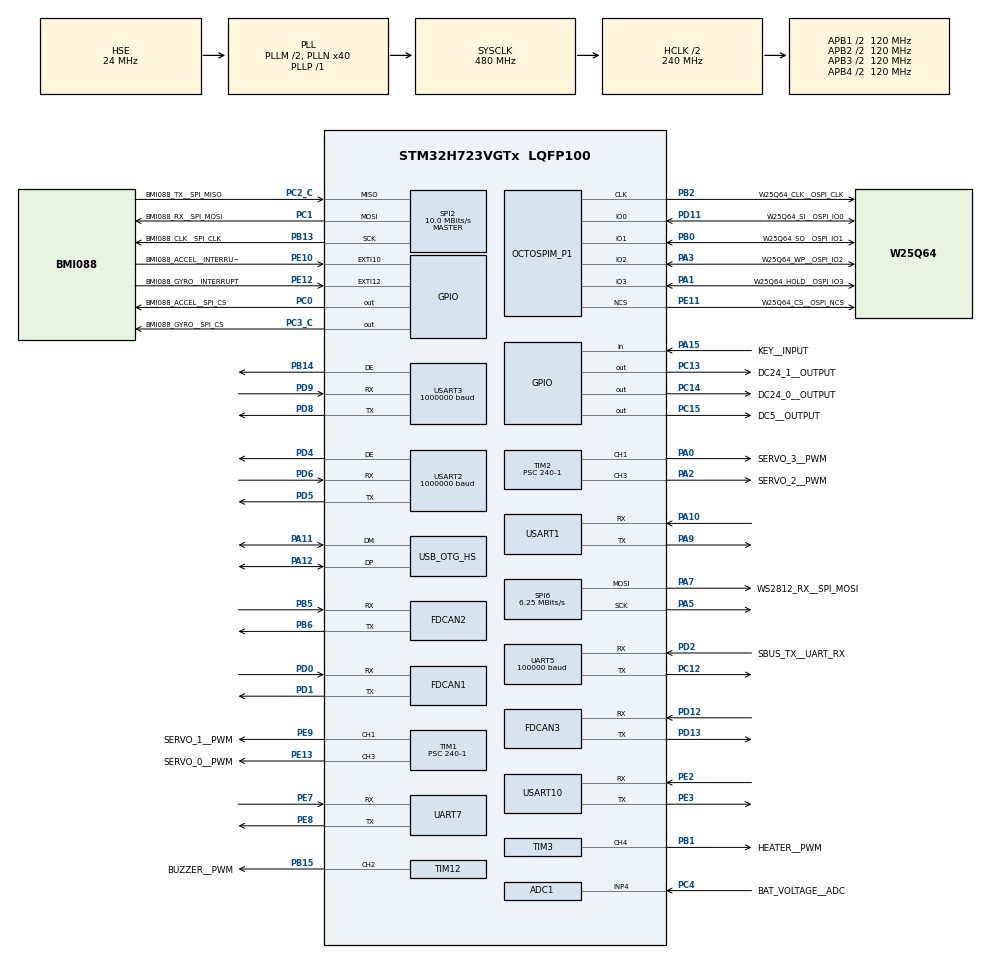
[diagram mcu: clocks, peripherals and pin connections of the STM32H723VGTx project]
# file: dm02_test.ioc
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ADC1.Channel-0\#ChannelRegularConversion=ADC_CHANNEL_4
ADC1.ClockPrescaler=ADC_CLOCK_ASYNC_DIV128
ADC1.ContinuousConvMode=ENABLE
ADC1.ConversionDataManagement=ADC_CONVERSIONDATA_DMA_CIRCULAR
ADC1.NbrOfConversion=1
ADC1.NbrOfConversionFlag=1
ADC1.OffsetNumber-0\#ChannelRegularConversion=ADC_OFFSET_NONE
ADC1.OffsetSignedSaturation-0\#ChannelRegularConversion=DISABLE
ADC1.Rank-0\#ChannelRegularConversion=1
ADC1.SamplingTime-0\#ChannelRegularConversion=ADC_SAMPLETIME_32CYCLES_5
ADC1.master=1
CORTEX_M7.BaseAddress_Spec=0x24000000
CORTEX_M7.CPU_DCache=Disabled
CORTEX_M7.CPU_ICache=Enabled
CORTEX_M7.DisableExec_Spec=MPU_INSTRUCTION_ACCESS_ENABLE
CORTEX_M7.IsBufferable_Spec=MPU_ACCESS_BUFFERABLE
CORTEX_M7.IsCacheable_Spec=MPU_ACCESS_CACHEABLE
CORTEX_M7.IsShareable_Spec=MPU_ACCESS_NOT_SHAREABLE
CORTEX_M7.MPU_Control=__NULL
CORTEX_M7.Size_Spec=MPU_REGION_SIZE_512KB
CORTEX_M7.SubRegionDisable_Spec=0x0
CORTEX_M7.TypeExtField_Spec=MPU_TEX_LEVEL1
CORTEX_M7.default_mode_Activation=1
Dma.ADC1.13.Direction=DMA_PERIPH_TO_MEMORY
Dma.ADC1.13.EventEnable=DISABLE
Dma.ADC1.13.FIFOMode=DMA_FIFOMODE_DISABLE
Dma.ADC1.13.Instance=DMA2_Stream5
Dma.ADC1.13.MemDataAlignment=DMA_MDATAALIGN_HALFWORD
Dma.ADC1.13.MemInc=DMA_MINC_ENABLE
Dma.ADC1.13.Mode=DMA_CIRCULAR
Dma.ADC1.13.PeriphDataAlignment=DMA_PDATAALIGN_HALFWORD
Dma.ADC1.13.PeriphInc=DMA_PINC_DISABLE
Dma.ADC1.13.Polarity=HAL_DMAMUX_REQ_GEN_RISING
Dma.ADC1.13.Priority=DMA_PRIORITY_LOW
Dma.ADC1.13.RequestNumber=1
Dma.ADC1.13.SignalID=NONE
Dma.ADC1.13.SyncEnable=DISABLE
Dma.ADC1.13.SyncPolarity=HAL_DMAMUX_SYNC_NO_EVENT
Dma.ADC1.13.SyncRequestNumber=1
Dma.ADC1.13.SyncSignalID=NONE
Dma.Request0=USART2_RX
Dma.Request1=USART2_TX
Dma.Request10=USART10_TX
Dma.Request11=SPI2_RX
Dma.Request12=SPI2_TX
Dma.Request13=ADC1
Dma.Request2=USART3_RX
Dma.Request3=USART3_TX
Dma.Request4=UART5_RX
Dma.Request5=USART1_RX
Dma.Request6=USART1_TX
Dma.Request7=UART7_RX
Dma.Request8=UART7_TX
Dma.Request9=USART10_RX
Dma.SPI2_RX.11.Direction=DMA_PERIPH_TO_MEMORY
Dma.SPI2_RX.11.EventEnable=DISABLE
Dma.SPI2_RX.11.FIFOMode=DMA_FIFOMODE_ENABLE
Dma.SPI2_RX.11.FIFOThreshold=DMA_FIFO_THRESHOLD_FULL
Dma.SPI2_RX.11.Instance=DMA2_Stream3
Dma.SPI2_RX.11.MemBurst=DMA_MBURST_SINGLE
Dma.SPI2_RX.11.MemDataAlignment=DMA_MDATAALIGN_BYTE
Dma.SPI2_RX.11.MemInc=DMA_MINC_ENABLE
Dma.SPI2_RX.11.Mode=DMA_NORMAL
Dma.SPI2_RX.11.PeriphBurst=DMA_PBURST_SINGLE
Dma.SPI2_RX.11.PeriphDataAlignment=DMA_PDATAALIGN_BYTE
Dma.SPI2_RX.11.PeriphInc=DMA_PINC_DISABLE
Dma.SPI2_RX.11.Polarity=HAL_DMAMUX_REQ_GEN_RISING
Dma.SPI2_RX.11.Priority=DMA_PRIORITY_LOW
Dma.SPI2_RX.11.RequestNumber=1
Dma.SPI2_RX.11.SignalID=NONE
Dma.SPI2_RX.11.SyncEnable=DISABLE
Dma.SPI2_RX.11.SyncPolarity=HAL_DMAMUX_SYNC_NO_EVENT
Dma.SPI2_RX.11.SyncRequestNumber=1
Dma.SPI2_RX.11.SyncSignalID=NONE
Dma.SPI2_TX.12.Direction=DMA_MEMORY_TO_PERIPH
Dma.SPI2_TX.12.EventEnable=DISABLE
Dma.SPI2_TX.12.FIFOMode=DMA_FIFOMODE_DISABLE
Dma.SPI2_TX.12.Instance=DMA2_Stream4
Dma.SPI2_TX.12.MemDataAlignment=DMA_MDATAALIGN_BYTE
Dma.SPI2_TX.12.MemInc=DMA_MINC_ENABLE
Dma.SPI2_TX.12.Mode=DMA_NORMAL
Dma.SPI2_TX.12.PeriphDataAlignment=DMA_PDATAALIGN_BYTE
Dma.SPI2_TX.12.PeriphInc=DMA_PINC_DISABLE
Dma.SPI2_TX.12.Polarity=HAL_DMAMUX_REQ_GEN_RISING
Dma.SPI2_TX.12.Priority=DMA_PRIORITY_LOW
Dma.SPI2_TX.12.RequestNumber=1
Dma.SPI2_TX.12.SignalID=NONE
Dma.SPI2_TX.12.SyncEnable=DISABLE
Dma.SPI2_TX.12.SyncPolarity=HAL_DMAMUX_SYNC_NO_EVENT
Dma.SPI2_TX.12.SyncRequestNumber=1
Dma.SPI2_TX.12.SyncSignalID=NONE
Dma.UART5_RX.4.Direction=DMA_PERIPH_TO_MEMORY
Dma.UART5_RX.4.EventEnable=DISABLE
Dma.UART5_RX.4.FIFOMode=DMA_FIFOMODE_ENABLE
Dma.UART5_RX.4.FIFOThreshold=DMA_FIFO_THRESHOLD_FULL
Dma.UART5_RX.4.Instance=DMA1_Stream4
Dma.UART5_RX.4.MemBurst=DMA_MBURST_SINGLE
Dma.UART5_RX.4.MemDataAlignment=DMA_MDATAALIGN_BYTE
Dma.UART5_RX.4.MemInc=DMA_MINC_ENABLE
Dma.UART5_RX.4.Mode=DMA_NORMAL
Dma.UART5_RX.4.PeriphBurst=DMA_PBURST_SINGLE
Dma.UART5_RX.4.PeriphDataAlignment=DMA_PDATAALIGN_BYTE
Dma.UART5_RX.4.PeriphInc=DMA_PINC_DISABLE
Dma.UART5_RX.4.Polarity=HAL_DMAMUX_REQ_GEN_RISING
Dma.UART5_RX.4.Priority=DMA_PRIORITY_LOW
Dma.UART5_RX.4.RequestNumber=1
Dma.UART5_RX.4.SignalID=NONE
Dma.UART5_RX.4.SyncEnable=DISABLE
Dma.UART5_RX.4.SyncPolarity=HAL_DMAMUX_SYNC_NO_EVENT
Dma.UART5_RX.4.SyncRequestNumber=1
Dma.UART5_RX.4.SyncSignalID=NONE
Dma.UART7_RX.7.Direction=DMA_PERIPH_TO_MEMORY
Dma.UART7_RX.7.EventEnable=DISABLE
Dma.UART7_RX.7.FIFOMode=DMA_FIFOMODE_ENABLE
Dma.UART7_RX.7.FIFOThreshold=DMA_FIFO_THRESHOLD_FULL
Dma.UART7_RX.7.Instance=DMA1_Stream7
Dma.UART7_RX.7.MemBurst=DMA_MBURST_SINGLE
Dma.UART7_RX.7.MemDataAlignment=DMA_MDATAALIGN_BYTE
Dma.UART7_RX.7.MemInc=DMA_MINC_ENABLE
Dma.UART7_RX.7.Mode=DMA_NORMAL
Dma.UART7_RX.7.PeriphBurst=DMA_PBURST_SINGLE
Dma.UART7_RX.7.PeriphDataAlignment=DMA_PDATAALIGN_BYTE
Dma.UART7_RX.7.PeriphInc=DMA_PINC_DISABLE
Dma.UART7_RX.7.Polarity=HAL_DMAMUX_REQ_GEN_RISING
Dma.UART7_RX.7.Priority=DMA_PRIORITY_LOW
Dma.UART7_RX.7.RequestNumber=1
Dma.UART7_RX.7.SignalID=NONE
Dma.UART7_RX.7.SyncEnable=DISABLE
Dma.UART7_RX.7.SyncPolarity=HAL_DMAMUX_SYNC_NO_EVENT
Dma.UART7_RX.7.SyncRequestNumber=1
Dma.UART7_RX.7.SyncSignalID=NONE
Dma.UART7_TX.8.Direction=DMA_MEMORY_TO_PERIPH
Dma.UART7_TX.8.EventEnable=DISABLE
Dma.UART7_TX.8.FIFOMode=DMA_FIFOMODE_ENABLE
Dma.UART7_TX.8.FIFOThreshold=DMA_FIFO_THRESHOLD_FULL
Dma.UART7_TX.8.Instance=DMA2_Stream0
Dma.UART7_TX.8.MemBurst=DMA_MBURST_SINGLE
Dma.UART7_TX.8.MemDataAlignment=DMA_MDATAALIGN_BYTE
Dma.UART7_TX.8.MemInc=DMA_MINC_ENABLE
Dma.UART7_TX.8.Mode=DMA_NORMAL
Dma.UART7_TX.8.PeriphBurst=DMA_PBURST_SINGLE
Dma.UART7_TX.8.PeriphDataAlignment=DMA_PDATAALIGN_BYTE
Dma.UART7_TX.8.PeriphInc=DMA_PINC_DISABLE
Dma.UART7_TX.8.Polarity=HAL_DMAMUX_REQ_GEN_RISING
Dma.UART7_TX.8.Priority=DMA_PRIORITY_LOW
Dma.UART7_TX.8.RequestNumber=1
Dma.UART7_TX.8.SignalID=NONE
Dma.UART7_TX.8.SyncEnable=DISABLE
Dma.UART7_TX.8.SyncPolarity=HAL_DMAMUX_SYNC_NO_EVENT
Dma.UART7_TX.8.SyncRequestNumber=1
Dma.UART7_TX.8.SyncSignalID=NONE
Dma.USART10_RX.9.Direction=DMA_PERIPH_TO_MEMORY
Dma.USART10_RX.9.EventEnable=DISABLE
Dma.USART10_RX.9.FIFOMode=DMA_FIFOMODE_DISABLE
Dma.USART10_RX.9.Instance=DMA2_Stream1
Dma.USART10_RX.9.MemDataAlignment=DMA_MDATAALIGN_BYTE
Dma.USART10_RX.9.MemInc=DMA_MINC_ENABLE
Dma.USART10_RX.9.Mode=DMA_NORMAL
Dma.USART10_RX.9.PeriphDataAlignment=DMA_PDATAALIGN_BYTE
Dma.USART10_RX.9.PeriphInc=DMA_PINC_DISABLE
Dma.USART10_RX.9.Polarity=HAL_DMAMUX_REQ_GEN_RISING
Dma.USART10_RX.9.Priority=DMA_PRIORITY_LOW
Dma.USART10_RX.9.RequestNumber=1
Dma.USART10_RX.9.SignalID=NONE
Dma.USART10_RX.9.SyncEnable=DISABLE
Dma.USART10_RX.9.SyncPolarity=HAL_DMAMUX_SYNC_NO_EVENT
Dma.USART10_RX.9.SyncRequestNumber=1
Dma.USART10_RX.9.SyncSignalID=NONE
Dma.USART10_TX.10.Direction=DMA_MEMORY_TO_PERIPH
Dma.USART10_TX.10.EventEnable=DISABLE
Dma.USART10_TX.10.FIFOMode=DMA_FIFOMODE_DISABLE
Dma.USART10_TX.10.Instance=DMA2_Stream2
Dma.USART10_TX.10.MemDataAlignment=DMA_MDATAALIGN_BYTE
Dma.USART10_TX.10.MemInc=DMA_MINC_ENABLE
Dma.USART10_TX.10.Mode=DMA_NORMAL
Dma.USART10_TX.10.PeriphDataAlignment=DMA_PDATAALIGN_BYTE
Dma.USART10_TX.10.PeriphInc=DMA_PINC_DISABLE
Dma.USART10_TX.10.Polarity=HAL_DMAMUX_REQ_GEN_RISING
Dma.USART10_TX.10.Priority=DMA_PRIORITY_LOW
Dma.USART10_TX.10.RequestNumber=1
Dma.USART10_TX.10.SignalID=NONE
Dma.USART10_TX.10.SyncEnable=DISABLE
Dma.USART10_TX.10.SyncPolarity=HAL_DMAMUX_SYNC_NO_EVENT
Dma.USART10_TX.10.SyncRequestNumber=1
Dma.USART10_TX.10.SyncSignalID=NONE
Dma.USART1_RX.5.Direction=DMA_PERIPH_TO_MEMORY
Dma.USART1_RX.5.EventEnable=DISABLE
Dma.USART1_RX.5.FIFOMode=DMA_FIFOMODE_ENABLE
Dma.USART1_RX.5.FIFOThreshold=DMA_FIFO_THRESHOLD_FULL
Dma.USART1_RX.5.Instance=DMA1_Stream5
Dma.USART1_RX.5.MemBurst=DMA_MBURST_SINGLE
Dma.USART1_RX.5.MemDataAlignment=DMA_MDATAALIGN_BYTE
Dma.USART1_RX.5.MemInc=DMA_MINC_ENABLE
Dma.USART1_RX.5.Mode=DMA_NORMAL
Dma.USART1_RX.5.PeriphBurst=DMA_PBURST_SINGLE
Dma.USART1_RX.5.PeriphDataAlignment=DMA_PDATAALIGN_BYTE
Dma.USART1_RX.5.PeriphInc=DMA_PINC_DISABLE
Dma.USART1_RX.5.Polarity=HAL_DMAMUX_REQ_GEN_RISING
Dma.USART1_RX.5.Priority=DMA_PRIORITY_LOW
Dma.USART1_RX.5.RequestNumber=1
Dma.USART1_RX.5.SignalID=NONE
Dma.USART1_RX.5.SyncEnable=DISABLE
Dma.USART1_RX.5.SyncPolarity=HAL_DMAMUX_SYNC_NO_EVENT
Dma.USART1_RX.5.SyncRequestNumber=1
Dma.USART1_RX.5.SyncSignalID=NONE
Dma.USART1_TX.6.Direction=DMA_MEMORY_TO_PERIPH
Dma.USART1_TX.6.EventEnable=DISABLE
Dma.USART1_TX.6.FIFOMode=DMA_FIFOMODE_ENABLE
Dma.USART1_TX.6.FIFOThreshold=DMA_FIFO_THRESHOLD_FULL
Dma.USART1_TX.6.Instance=DMA1_Stream6
Dma.USART1_TX.6.MemBurst=DMA_MBURST_SINGLE
Dma.USART1_TX.6.MemDataAlignment=DMA_MDATAALIGN_BYTE
Dma.USART1_TX.6.MemInc=DMA_MINC_ENABLE
Dma.USART1_TX.6.Mode=DMA_NORMAL
Dma.USART1_TX.6.PeriphBurst=DMA_PBURST_SINGLE
Dma.USART1_TX.6.PeriphDataAlignment=DMA_PDATAALIGN_BYTE
Dma.USART1_TX.6.PeriphInc=DMA_PINC_DISABLE
Dma.USART1_TX.6.Polarity=HAL_DMAMUX_REQ_GEN_RISING
Dma.USART1_TX.6.Priority=DMA_PRIORITY_LOW
Dma.USART1_TX.6.RequestNumber=1
Dma.USART1_TX.6.SignalID=NONE
Dma.USART1_TX.6.SyncEnable=DISABLE
Dma.USART1_TX.6.SyncPolarity=HAL_DMAMUX_SYNC_NO_EVENT
Dma.USART1_TX.6.SyncRequestNumber=1
Dma.USART1_TX.6.SyncSignalID=NONE
Dma.USART2_RX.0.Direction=DMA_PERIPH_TO_MEMORY
Dma.USART2_RX.0.EventEnable=DISABLE
Dma.USART2_RX.0.FIFOMode=DMA_FIFOMODE_ENABLE
Dma.USART2_RX.0.FIFOThreshold=DMA_FIFO_THRESHOLD_FULL
Dma.USART2_RX.0.Instance=DMA1_Stream1
Dma.USART2_RX.0.MemBurst=DMA_MBURST_SINGLE
Dma.USART2_RX.0.MemDataAlignment=DMA_MDATAALIGN_BYTE
Dma.USART2_RX.0.MemInc=DMA_MINC_ENABLE
Dma.USART2_RX.0.Mode=DMA_NORMAL
Dma.USART2_RX.0.PeriphBurst=DMA_PBURST_SINGLE
Dma.USART2_RX.0.PeriphDataAlignment=DMA_PDATAALIGN_BYTE
Dma.USART2_RX.0.PeriphInc=DMA_PINC_DISABLE
Dma.USART2_RX.0.Polarity=HAL_DMAMUX_REQ_GEN_RISING
Dma.USART2_RX.0.Priority=DMA_PRIORITY_LOW
Dma.USART2_RX.0.RequestNumber=1
Dma.USART2_RX.0.SignalID=NONE
Dma.USART2_RX.0.SyncEnable=DISABLE
Dma.USART2_RX.0.SyncPolarity=HAL_DMAMUX_SYNC_NO_EVENT
Dma.USART2_RX.0.SyncRequestNumber=1
Dma.USART2_RX.0.SyncSignalID=NONE
Dma.USART2_TX.1.Direction=DMA_MEMORY_TO_PERIPH
Dma.USART2_TX.1.EventEnable=DISABLE
Dma.USART2_TX.1.FIFOMode=DMA_FIFOMODE_ENABLE
Dma.USART2_TX.1.FIFOThreshold=DMA_FIFO_THRESHOLD_FULL
Dma.USART2_TX.1.Instance=DMA1_Stream0
Dma.USART2_TX.1.MemBurst=DMA_MBURST_SINGLE
Dma.USART2_TX.1.MemDataAlignment=DMA_MDATAALIGN_BYTE
Dma.USART2_TX.1.MemInc=DMA_MINC_ENABLE
Dma.USART2_TX.1.Mode=DMA_NORMAL
Dma.USART2_TX.1.PeriphBurst=DMA_PBURST_SINGLE
Dma.USART2_TX.1.PeriphDataAlignment=DMA_PDATAALIGN_BYTE
Dma.USART2_TX.1.PeriphInc=DMA_PINC_DISABLE
Dma.USART2_TX.1.Polarity=HAL_DMAMUX_REQ_GEN_RISING
Dma.USART2_TX.1.Priority=DMA_PRIORITY_LOW
Dma.USART2_TX.1.RequestNumber=1
Dma.USART2_TX.1.SignalID=NONE
Dma.USART2_TX.1.SyncEnable=DISABLE
Dma.USART2_TX.1.SyncPolarity=HAL_DMAMUX_SYNC_NO_EVENT
Dma.USART2_TX.1.SyncRequestNumber=1
Dma.USART2_TX.1.SyncSignalID=NONE
Dma.USART3_RX.2.Direction=DMA_PERIPH_TO_MEMORY
Dma.USART3_RX.2.EventEnable=DISABLE
Dma.USART3_RX.2.FIFOMode=DMA_FIFOMODE_ENABLE
Dma.USART3_RX.2.FIFOThreshold=DMA_FIFO_THRESHOLD_FULL
Dma.USART3_RX.2.Instance=DMA1_Stream2
Dma.USART3_RX.2.MemBurst=DMA_MBURST_SINGLE
Dma.USART3_RX.2.MemDataAlignment=DMA_MDATAALIGN_BYTE
Dma.USART3_RX.2.MemInc=DMA_MINC_ENABLE
Dma.USART3_RX.2.Mode=DMA_NORMAL
Dma.USART3_RX.2.PeriphBurst=DMA_PBURST_SINGLE
Dma.USART3_RX.2.PeriphDataAlignment=DMA_PDATAALIGN_BYTE
Dma.USART3_RX.2.PeriphInc=DMA_PINC_DISABLE
Dma.USART3_RX.2.Polarity=HAL_DMAMUX_REQ_GEN_RISING
Dma.USART3_RX.2.Priority=DMA_PRIORITY_LOW
Dma.USART3_RX.2.RequestNumber=1
Dma.USART3_RX.2.SignalID=NONE
Dma.USART3_RX.2.SyncEnable=DISABLE
Dma.USART3_RX.2.SyncPolarity=HAL_DMAMUX_SYNC_NO_EVENT
Dma.USART3_RX.2.SyncRequestNumber=1
Dma.USART3_RX.2.SyncSignalID=NONE
Dma.USART3_TX.3.Direction=DMA_MEMORY_TO_PERIPH
Dma.USART3_TX.3.EventEnable=DISABLE
Dma.USART3_TX.3.FIFOMode=DMA_FIFOMODE_ENABLE
Dma.USART3_TX.3.FIFOThreshold=DMA_FIFO_THRESHOLD_FULL
Dma.USART3_TX.3.Instance=DMA1_Stream3
Dma.USART3_TX.3.MemBurst=DMA_MBURST_SINGLE
Dma.USART3_TX.3.MemDataAlignment=DMA_MDATAALIGN_BYTE
Dma.USART3_TX.3.MemInc=DMA_MINC_ENABLE
Dma.USART3_TX.3.Mode=DMA_NORMAL
Dma.USART3_TX.3.PeriphBurst=DMA_PBURST_SINGLE
Dma.USART3_TX.3.PeriphDataAlignment=DMA_PDATAALIGN_BYTE
Dma.USART3_TX.3.PeriphInc=DMA_PINC_DISABLE
Dma.USART3_TX.3.Polarity=HAL_DMAMUX_REQ_GEN_RISING
Dma.USART3_TX.3.Priority=DMA_PRIORITY_LOW
Dma.USART3_TX.3.RequestNumber=1
Dma.USART3_TX.3.SignalID=NONE
Dma.USART3_TX.3.SyncEnable=DISABLE
Dma.USART3_TX.3.SyncPolarity=HAL_DMAMUX_SYNC_NO_EVENT
Dma.USART3_TX.3.SyncRequestNumber=1
Dma.USART3_TX.3.SyncSignalID=NONE
FDCAN1.AutoRetransmission=ENABLE
FDCAN1.CalculateBaudRateNominal=1000000
FDCAN1.CalculateTimeBitNominal=1000
FDCAN1.CalculateTimeQuantumNominal=25.0
FDCAN1.DataPrescaler=3
FDCAN1.DataSyncJumpWidth=10
FDCAN1.DataTimeSeg1=29
FDCAN1.DataTimeSeg2=10
FDCAN1.NominalPrescaler=3
FDCAN1.NominalSyncJumpWidth=10
FDCAN1.NominalTimeSeg1=29
FDCAN1.NominalTimeSeg2=10
FDCAN1.ProtocolException=DISABLE
FDCAN1.RxFifo0ElmtsNbr=16
FDCAN1.RxFifo1ElmtsNbr=0
FDCAN1.StdFiltersNbr=1
FDCAN1.TxFifoQueueElmtsNbr=8
FDCAN2.AutoRetransmission=ENABLE
FDCAN2.CalculateBaudRateNominal=1000000
FDCAN2.CalculateTimeBitNominal=1000
FDCAN2.CalculateTimeQuantumNominal=25.0
FDCAN2.DataPrescaler=3
FDCAN2.DataSyncJumpWidth=10
FDCAN2.DataTimeSeg1=29
FDCAN2.DataTimeSeg2=10
FDCAN2.MessageRAMOffset=853
FDCAN2.NominalPrescaler=3
FDCAN2.NominalSyncJumpWidth=10
FDCAN2.NominalTimeSeg1=29
FDCAN2.NominalTimeSeg2=10
FDCAN2.RxFifo0ElmtsNbr=16
FDCAN2.RxFifo1ElmtsNbr=0
FDCAN2.StdFiltersNbr=1
FDCAN2.TxFifoQueueElmtsNbr=8
FDCAN3.AutoRetransmission=ENABLE
FDCAN3.CalculateBaudRateNominal=1000000
FDCAN3.CalculateTimeBitNominal=1000
FDCAN3.CalculateTimeQuantumNominal=25.0
FDCAN3.DataPrescaler=3
FDCAN3.DataSyncJumpWidth=10
FDCAN3.DataTimeSeg1=29
FDCAN3.DataTimeSeg2=10
FDCAN3.MessageRAMOffset=1706
FDCAN3.NominalPrescaler=3
FDCAN3.NominalSyncJumpWidth=10
FDCAN3.NominalTimeSeg1=29
FDCAN3.NominalTimeSeg2=10
FDCAN3.RxFifo0ElmtsNbr=16
FDCAN3.RxFifo1ElmtsNbr=0
FDCAN3.StdFiltersNbr=1
FDCAN3.TxFifoQueueElmtsNbr=8
FREERTOS.Tasks01=statusTask,24,512,StartStatusTask,Default,NULL,Dynamic,NULL,NULL;controlTask,40,512,StartControlTask,Default,NULL,Dynamic,NULL,NULL
FREERTOS.configCHECK_FOR_STACK_OVERFLOW=2
FREERTOS.configTICK_RATE_HZ=1000
FREERTOS.configTOTAL_HEAP_SIZE=12288
IWDG1.Prescaler=IWDG_PRESCALER_256
IWDG1.Reload=1023
IWDG1.Window=1023
Mcu.Family=STM32H7
Mcu.Name=STM32H723VGTx
Mcu.Package=LQFP100
Mdma.MDMA_Channel0.OCTOSPI2_FIFO_TH.0.BlockCount=0
Mdma.MDMA_Channel0.OCTOSPI2_FIFO_TH.0.BlockDataLength=0
Mdma.MDMA_Channel0.OCTOSPI2_FIFO_TH.0.BufferTransferLength=1
Mdma.MDMA_Channel0.OCTOSPI2_FIFO_TH.0.CircularMode=MDMA_LINEAR_LIST
Mdma.MDMA_Channel0.OCTOSPI2_FIFO_TH.0.DataAlignment=MDMA_DATAALIGN_PACKENABLE
Mdma.MDMA_Channel0.OCTOSPI2_FIFO_TH.0.DestBlockAddressOffset=0
Mdma.MDMA_Channel0.OCTOSPI2_FIFO_TH.0.DestBurst=MDMA_DEST_BURST_SINGLE
Mdma.MDMA_Channel0.OCTOSPI2_FIFO_TH.0.DestDataSize=MDMA_DEST_DATASIZE_BYTE
Mdma.MDMA_Channel0.OCTOSPI2_FIFO_TH.0.DestinationInc=MDMA_DEST_INC_BYTE
Mdma.MDMA_Channel0.OCTOSPI2_FIFO_TH.0.DstAddress=0
Mdma.MDMA_Channel0.OCTOSPI2_FIFO_TH.0.Endianness=MDMA_LITTLE_ENDIANNESS_PRESERVE
Mdma.MDMA_Channel0.OCTOSPI2_FIFO_TH.0.Instance=MDMA_Channel0
Mdma.MDMA_Channel0.OCTOSPI2_FIFO_TH.0.MaskAddress=0
Mdma.MDMA_Channel0.OCTOSPI2_FIFO_TH.0.MaskData=0
Mdma.MDMA_Channel0.OCTOSPI2_FIFO_TH.0.Priority=MDMA_PRIORITY_LOW
Mdma.MDMA_Channel0.OCTOSPI2_FIFO_TH.0.Rank=First
Mdma.MDMA_Channel0.OCTOSPI2_FIFO_TH.0.SourceBlockAddressOffset=0
Mdma.MDMA_Channel0.OCTOSPI2_FIFO_TH.0.SourceBurst=MDMA_SOURCE_BURST_SINGLE
Mdma.MDMA_Channel0.OCTOSPI2_FIFO_TH.0.SourceDataSize=MDMA_SRC_DATASIZE_BYTE
Mdma.MDMA_Channel0.OCTOSPI2_FIFO_TH.0.SourceInc=MDMA_SRC_INC_BYTE
Mdma.MDMA_Channel0.OCTOSPI2_FIFO_TH.0.SrcAddress=0
Mdma.MDMA_Channel0.OCTOSPI2_FIFO_TH.0.TransferTriggerMode=MDMA_BUFFER_TRANSFER
Mdma.MDMA_Channel0.Request0=OCTOSPI2_FIFO_TH
Mdma.MDMA_Channel0.RequestsNb=1
Mdma.RequestSet0=MDMA_Channel0
Mdma.RequestSetsNb=1
NVIC.DMA1_Stream0_IRQn=true\:5\:0\:false\:false\:true\:false\:true\:true\:true
NVIC.DMA1_Stream1_IRQn=true\:5\:0\:false\:false\:true\:false\:true\:true\:true
NVIC.DMA1_Stream2_IRQn=true\:5\:0\:false\:false\:true\:false\:true\:true\:true
NVIC.DMA1_Stream3_IRQn=true\:5\:0\:false\:false\:true\:false\:true\:true\:true
NVIC.DMA1_Stream4_IRQn=true\:5\:0\:false\:false\:true\:false\:true\:true\:true
NVIC.DMA1_Stream5_IRQn=true\:5\:0\:false\:false\:true\:false\:true\:true\:true
NVIC.DMA1_Stream6_IRQn=true\:5\:0\:false\:false\:true\:false\:true\:true\:true
NVIC.DMA1_Stream7_IRQn=true\:5\:0\:false\:false\:true\:false\:true\:true\:true
NVIC.DMA2_Stream0_IRQn=true\:5\:0\:false\:false\:true\:false\:true\:true\:true
NVIC.DMA2_Stream1_IRQn=true\:5\:0\:false\:false\:true\:false\:true\:true\:true
NVIC.DMA2_Stream2_IRQn=true\:5\:0\:false\:false\:true\:false\:true\:true\:true
NVIC.DMA2_Stream3_IRQn=true\:5\:0\:false\:false\:true\:false\:true\:true\:true
NVIC.DMA2_Stream4_IRQn=true\:5\:0\:false\:false\:true\:false\:true\:true\:true
NVIC.DMA2_Stream5_IRQn=true\:5\:0\:false\:false\:true\:false\:true\:true\:true
NVIC.EXTI15_10_IRQn=true\:5\:0\:true\:false\:true\:true\:true\:true\:true
NVIC.FDCAN1_IT0_IRQn=true\:5\:0\:false\:false\:true\:true\:true\:true\:true
NVIC.FDCAN1_IT1_IRQn=true\:5\:0\:false\:false\:true\:true\:true\:true\:true
NVIC.FDCAN2_IT0_IRQn=true\:5\:0\:false\:false\:true\:true\:true\:true\:true
NVIC.FDCAN2_IT1_IRQn=true\:5\:0\:false\:false\:true\:true\:true\:true\:true
NVIC.FDCAN3_IT0_IRQn=true\:5\:0\:false\:false\:true\:true\:true\:true\:true
NVIC.FDCAN3_IT1_IRQn=true\:5\:0\:false\:false\:true\:true\:true\:true\:true
NVIC.MDMA_IRQn=true\:5\:0\:false\:false\:true\:false\:true\:true\:true
NVIC.OCTOSPI2_IRQn=true\:5\:0\:false\:false\:true\:true\:true\:true\:true
NVIC.OTG_HS_IRQn=true\:5\:0\:false\:false\:true\:false\:true\:true\:true
NVIC.PriorityGroup=NVIC_PRIORITYGROUP_4
NVIC.SPI2_IRQn=true\:5\:0\:false\:false\:true\:false\:true\:true\:true
NVIC.TIM4_IRQn=true\:5\:0\:true\:false\:true\:true\:true\:true\:true
NVIC.TIM5_IRQn=true\:5\:0\:true\:false\:true\:true\:true\:true\:true
NVIC.TIM6_DAC_IRQn=true\:5\:0\:true\:false\:true\:false\:true\:true\:true
NVIC.TIM7_IRQn=true\:5\:0\:true\:false\:true\:true\:true\:true\:true
NVIC.TIM8_UP_TIM13_IRQn=true\:5\:0\:true\:false\:true\:true\:true\:true\:true
NVIC.TimeBase=TIM6_DAC_IRQn
NVIC.TimeBaseIP=TIM6
NVIC.UART5_IRQn=true\:5\:0\:true\:false\:true\:true\:true\:true\:true
NVIC.UART7_IRQn=true\:5\:0\:true\:false\:true\:true\:true\:true\:true
NVIC.USART10_IRQn=true\:5\:0\:true\:false\:true\:true\:true\:true\:true
NVIC.USART1_IRQn=true\:5\:0\:true\:false\:true\:true\:true\:true\:true
NVIC.USART2_IRQn=true\:5\:0\:true\:false\:true\:true\:true\:true\:true
NVIC.USART3_IRQn=true\:5\:0\:true\:false\:true\:true\:true\:true\:true
OCTOSPI2.ClockMode=HAL_OSPI_CLOCK_MODE_3
OCTOSPI2.ClockPrescaler=2
OCTOSPI2.DeviceSize=23
OCTOSPI2.FifoThreshold=1
OCTOSPI2.SampleShifting=HAL_OSPI_SAMPLE_SHIFTING_HALFCYCLE
PA0.GPIO_Label=SERVO_3__PWM
PA0.Signal=S_TIM2_CH1_ETR
PA1.GPIO_Label=W25Q64_HOLD__OSPI_IO3
PA1.Mode=OCTOSPI2_IOL_Port1L
PA1.Signal=OCTOSPIM_P1_IO3
PA10.Mode=Asynchronous
PA10.Signal=USART1_RX
PA11.Mode=Device_Only_FS
PA11.Signal=USB_OTG_HS_DM
PA12.Mode=Device_Only_FS
PA12.Signal=USB_OTG_HS_DP
PA13(JTMS/SWDIO).Mode=Serial_Wire
PA13(JTMS/SWDIO).Signal=DEBUG_JTMS-SWDIO
PA14(JTCK/SWCLK).Mode=Serial_Wire
PA14(JTCK/SWCLK).Signal=DEBUG_JTCK-SWCLK
PA15(JTDI).GPIO_Label=KEY__INPUT
PA15(JTDI).Signal=GPIO_Input
PA2.GPIO_Label=SERVO_2__PWM
PA2.Signal=S_TIM2_CH3
PA3.GPIO_Label=W25Q64_WP__OSPI_IO2
PA3.Mode=OCTOSPI2_IOL_Port1L
PA3.Signal=OCTOSPIM_P1_IO2
PA5.GPIO_Speed=GPIO_SPEED_FREQ_VERY_HIGH
PA5.Mode=TX_Only_Simplex_Unidirect_Master
PA5.Signal=SPI6_SCK
PA7.GPIO_Label=WS2812_RX__SPI_MOSI
PA7.GPIO_Speed=GPIO_SPEED_FREQ_VERY_HIGH
PA7.Mode=TX_Only_Simplex_Unidirect_Master
PA7.Signal=SPI6_MOSI
PA9.Mode=Asynchronous
PA9.Signal=USART1_TX
PB0.GPIO_Label=W25Q64_SO__OSPI_IO1
PB0.Mode=OCTOSPI2_IOL_Port1L
PB0.Signal=OCTOSPIM_P1_IO1
PB1.GPIO_Label=HEATER__PWM
PB1.Signal=S_TIM3_CH4
PB13.GPIO_Label=BMI088_CLK__SPI_CLK
PB13.GPIO_Speed=GPIO_SPEED_FREQ_VERY_HIGH
PB13.Mode=Full_Duplex_Master
PB13.Signal=SPI2_SCK
PB14.Mode=Hardware Flow Control (RS485)
PB14.Signal=USART3_DE
PB15.GPIO_Label=BUZZER__PWM
PB15.Signal=S_TIM12_CH2
PB2.GPIO_Label=W25Q64_CLK__OSPI_CLK
PB2.Mode=O2_P1_CLK
PB2.Signal=OCTOSPIM_P1_CLK
PB5.Mode=FDCAN_Activate
PB5.Signal=FDCAN2_RX
PB6.Mode=FDCAN_Activate
PB6.Signal=FDCAN2_TX
PC0.GPIO_Label=BMI088_ACCEL__SPI_CS
PC0.GPIO_Speed=GPIO_SPEED_FREQ_VERY_HIGH
PC0.PinState=GPIO_PIN_SET
PC0.Signal=GPIO_Output
PC1.GPIO_Label=BMI088_RX__SPI_MOSI
PC1.GPIO_Speed=GPIO_SPEED_FREQ_VERY_HIGH
PC1.Mode=Full_Duplex_Master
PC1.Signal=SPI2_MOSI
PC12.Mode=Asynchronous
PC12.Signal=UART5_TX
PC13.GPIO_Label=DC24_1__OUTPUT
PC13.PinState=GPIO_PIN_RESET
PC13.Signal=GPIO_Output
PC14-OSC32_IN.GPIO_Label=DC24_0__OUTPUT
PC14-OSC32_IN.Signal=GPIO_Output
PC15-OSC32_OUT.GPIO_Label=DC5__OUTPUT
PC15-OSC32_OUT.PinState=GPIO_PIN_RESET
PC15-OSC32_OUT.Signal=GPIO_Output
PC2_C.GPIO_Label=BMI088_TX__SPI_MISO
PC2_C.GPIO_Speed=GPIO_SPEED_FREQ_VERY_HIGH
PC2_C.Mode=Full_Duplex_Master
PC2_C.Signal=SPI2_MISO
PC3_C.GPIO_Label=BMI088_GYRO__SPI_CS
PC3_C.GPIO_Speed=GPIO_SPEED_FREQ_VERY_HIGH
PC3_C.PinState=GPIO_PIN_SET
PC3_C.Signal=GPIO_Output
PC4.GPIO_Label=BAT_VOLTAGE__ADC
PC4.Signal=ADCx_INP4
PD0.Mode=FDCAN_Activate
PD0.Signal=FDCAN1_RX
PD1.Mode=FDCAN_Activate
PD1.Signal=FDCAN1_TX
PD11.GPIO_Label=W25Q64_SI__OSPI_IO0
PD11.Mode=OCTOSPI2_IOL_Port1L
PD11.Signal=OCTOSPIM_P1_IO0
PD12.Mode=FDCAN_Activate
PD12.Signal=FDCAN3_RX
PD13.Mode=FDCAN_Activate
PD13.Signal=FDCAN3_TX
PD2.GPIO_Label=SBUS_TX__UART_RX
PD2.Mode=Asynchronous
PD2.Signal=UART5_RX
PD4.Mode=Hardware Flow Control (RS485)
PD4.Signal=USART2_DE
PD5.Mode=Asynchronous
PD5.Signal=USART2_TX
PD6.Mode=Asynchronous
PD6.Signal=USART2_RX
PD8.Mode=Asynchronous
PD8.Signal=USART3_TX
PD9.Mode=Asynchronous
PD9.Signal=USART3_RX
PE10.GPIO_Label=BMI088_ACCEL__INTERRUPT
PE10.Signal=GPXTI10
PE11.GPIO_Label=W25Q64_CS__OSPI_NCS
PE11.Mode=OCTOSPI2_Port1_NCS
PE11.Signal=OCTOSPIM_P1_NCS
PE12.GPIO_Label=BMI088_GYRO__INTERRUPT
PE12.Signal=GPXTI12
PE13.GPIO_Label=SERVO_0__PWM
PE13.Signal=S_TIM1_CH3
PE2.Mode=Asynchronous
PE2.Signal=USART10_RX
PE3.Mode=Asynchronous
PE3.Signal=USART10_TX
PE7.Mode=Asynchronous
PE7.Signal=UART7_RX
PE8.Mode=Asynchronous
PE8.Signal=UART7_TX
PE9.GPIO_Label=SERVO_1__PWM
PE9.Signal=S_TIM1_CH1
PH0-OSC_IN.Mode=HSE-External-Oscillator
PH0-OSC_IN.Signal=RCC_OSC_IN
PH1-OSC_OUT.Mode=HSE-External-Oscillator
PH1-OSC_OUT.Signal=RCC_OSC_OUT
ProjectManager.HeapSize=0x20000
ProjectManager.StackSize=0x10000
ProjectManager.TargetToolchain=CMake
RCC.ADCCLockSelection=RCC_ADCCLKSOURCE_CLKP
RCC.ADCFreq_Value=24000000
RCC.APB1Freq_Value=120000000
RCC.APB2Freq_Value=120000000
RCC.APB3Freq_Value=120000000
RCC.APB4Freq_Value=120000000
RCC.CKPERSourceSelection=RCC_CLKPSOURCE_HSE
RCC.CortexFreq_Value=480000000
RCC.D1PPRE=RCC_APB3_DIV2
RCC.D2PPRE1=RCC_APB1_DIV2
RCC.D2PPRE2=RCC_APB2_DIV2
RCC.D3PPRE=RCC_APB4_DIV2
RCC.DIVM1=2
RCC.DIVM2=12
RCC.DIVM3=24
RCC.DIVN1=40
RCC.DIVN2=100
RCC.DIVN3=160
RCC.DIVP1=1
RCC.DIVQ1=4
RCC.DIVQ2=4
RCC.HCLKFreq_Value=240000000
RCC.HPRE=RCC_HCLK_DIV2
RCC.HSE_VALUE=24000000
RCC.PLL2FRACN=0
RCC.PLLFRACN=0
RCC.PLLSourceVirtual=RCC_PLLSOURCE_HSE
RCC.SPI123CLockSelection=RCC_SPI123CLKSOURCE_PLL3
RCC.SPI6CLockSelection=RCC_SPI6CLKSOURCE_PLL2
RCC.SYSCLKFreq_VALUE=480000000
RCC.SYSCLKSource=RCC_SYSCLKSOURCE_PLLCLK
RCC.USBCLockSelection=RCC_USBCLKSOURCE_HSI48
RCC.USBFreq_Value=48000000
SH.ADCx_INP4.0=ADC1_INP4,IN4-Single-Ended
SH.S_TIM12_CH2.0=TIM12_CH2,PWM Generation2 CH2
SH.S_TIM1_CH1.0=TIM1_CH1,PWM Generation1 CH1
SH.S_TIM1_CH3.0=TIM1_CH3,PWM Generation3 CH3
SH.S_TIM2_CH1_ETR.0=TIM2_CH1,PWM Generation1 CH1
SH.S_TIM2_CH3.0=TIM2_CH3,PWM Generation3 CH3
SH.S_TIM3_CH4.0=TIM3_CH4,PWM Generation4 CH4
SPI2.BaudRatePrescaler=SPI_BAUDRATEPRESCALER_8
SPI2.CLKPhase=SPI_PHASE_2EDGE
SPI2.CLKPolarity=SPI_POLARITY_HIGH
SPI2.CalculateBaudRate=10.0 MBits/s
SPI2.DataSize=SPI_DATASIZE_8BIT
SPI2.Direction=SPI_DIRECTION_2LINES
SPI2.Mode=SPI_MODE_MASTER
SPI2.VirtualType=VM_MASTER
SPI6.BaudRatePrescaler=SPI_BAUDRATEPRESCALER_8
SPI6.CLKPolarity=SPI_POLARITY_LOW
SPI6.CalculateBaudRate=6.25 MBits/s
SPI6.DataSize=SPI_DATASIZE_8BIT
SPI6.Direction=SPI_DIRECTION_2LINES_TXONLY
SPI6.FirstBit=SPI_FIRSTBIT_MSB
SPI6.Mode=SPI_MODE_MASTER
SPI6.VirtualType=VM_MASTER
STMicroelectronics.X-CUBE-ALGOBUILD.1.4.0.LibraryCcDSPOoLibraryJjDSPOoLibrary=true
TIM1.AutoReloadPreload=TIM_AUTORELOAD_PRELOAD_ENABLE
TIM1.Channel-PWM\ Generation1\ CH1=TIM_CHANNEL_1
TIM1.Channel-PWM\ Generation3\ CH3=TIM_CHANNEL_3
TIM1.OC1Preload_PWM=DISABLE
TIM1.OC3Preload_PWM=DISABLE
TIM1.Period=10000-1
TIM1.Prescaler=240-1
TIM12.Channel-PWM\ Generation2\ CH2=TIM_CHANNEL_2
TIM12.OC2Preload_PWM=DISABLE
TIM12.Period=250-1
TIM12.Prescaler=240-1
TIM2.AutoReloadPreload=TIM_AUTORELOAD_PRELOAD_ENABLE
TIM2.Channel-PWM\ Generation1\ CH1=TIM_CHANNEL_1
TIM2.Channel-PWM\ Generation3\ CH3=TIM_CHANNEL_3
TIM2.OC1Preload_PWM=DISABLE
TIM2.OC3Preload_PWM=DISABLE
TIM2.Period=10000-1
TIM2.Prescaler=240-1
TIM3.Channel-PWM\ Generation4\ CH4=TIM_CHANNEL_4
TIM3.Period=10000-1
TIM3.Prescaler=240-1
TIM4.Period=10-1
TIM4.Prescaler=240-1
TIM5.Period=3600000000-1
TIM5.Prescaler=240-1
TIM7.Period=1000-1
TIM7.Prescaler=240-1
TIM8.Period=125-1
TIM8.Prescaler=240-1
UART5.BaudRate=100000
UART5.Mode=MODE_RX
UART5.Parity=PARITY_EVEN
UART5.StopBits=UART_STOPBITS_2
UART5.WordLength=WORDLENGTH_9B
USART1.VirtualMode-Asynchronous=VM_ASYNC
USART10.VirtualMode=VM_ASYNC
USART2.BaudRate=1000000
USART2.VirtualMode-Asynchronous=VM_ASYNC
USART2.VirtualMode-Hardware\ Flow\ Control\ (RS485)=VM_ASYNC
USART3.BaudRate=1000000
USART3.VirtualMode-Asynchronous=VM_ASYNC
USART3.VirtualMode-Hardware\ Flow\ Control\ (RS485)=VM_ASYNC
USB_DEVICE.CLASS_NAME_HS=CDC
USB_DEVICE.MANUFACTURER_STRING=DM_MC02_test_FS
USB_DEVICE.PRODUCT_STRING_CDC_HS=DM_MC02_test_HS
USB_DEVICE.USBD_LPM_ENABLED=1
USB_DEVICE.USBD_MAX_NUM_INTERFACES=1
USB_DEVICE.USBD_SELF_POWERED=1
USB_DEVICE.VirtualMode=Cdc
USB_DEVICE.VirtualModeHS=Cdc_HS
USB_OTG_HS.VirtualMode-Device_Only_FS=Device_Only_FS
USB_OTG_HS.dma_enable-Device_Only_FS=DISABLE
VP_CORDIC_VS_CORDIC.Mode=CORDIC_Activate
VP_FREERTOS_VS_CMSIS_V2.Mode=CMSIS_V2
VP_IWDG1_VS_IWDG.Mode=IWDG_Activate
VP_MEMORYMAP_VS_MEMORYMAP.Mode=CurAppReg
VP_OCTOSPI2_VS_octo.Mode=octo_mode
VP_STMicroelectronics.X-CUBE-ALGOBUILD_VS_DSPOoLibraryJjLibrary_1.4.0_1.4.0.Mode=DSPOoLibraryJjLibrary
VP_SYS_VS_tim6.Mode=TIM6
VP_TIM4_VS_ClockSourceINT.Mode=Internal
VP_TIM5_VS_ClockSourceINT.Mode=Internal
VP_TIM7_VS_ClockSourceINT.Mode=Enable_Timer
VP_TIM8_VS_ClockSourceINT.Mode=Internal
VP_USB_DEVICE_VS_USB_DEVICE_CDC_HS.Mode=CDC_HS
board=custom

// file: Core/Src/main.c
/* USER CODE BEGIN Header */
/**
  ******************************************************************************
  * @file           : main.c
  * @brief          : Main program body
  ******************************************************************************
  * @attention
  *
  * Copyright (c) 2025 STMicroelectronics.
  * All rights reserved.
  *
  * This software is licensed under terms that can be found in the LICENSE file
  * in the root directory of this software component.
  * If no LICENSE file comes with this software, it is provided AS-IS.
  *
  ******************************************************************************
  */
/* USER CODE END Header */
#include "main.h"
#include "cmsis_os.h"
#include "adc.h"
#include "cordic.h"
#include "dma.h"
#include "fdcan.h"
#include "iwdg.h"
#include "mdma.h"
#include "octospi.h"
#include "spi.h"
#include "tim.h"
#include "usart.h"
#include "usb_device.h"
#include "gpio.h"

/* USER CODE BEGIN Includes */
#include "4_Task/tsk_config_and_callback.h"
/* USER CODE END Includes */

void SystemClock_Config(void);
void PeriphCommonClock_Config(void);
void MX_FREERTOS_Init(void);

int main(void)
{

  /* Enable the CPU Cache */

  /* Enable I-Cache---------------------------------------------------------*/
  SCB_EnableICache();

  /* MCU Configuration--------------------------------------------------------*/

  /* Reset of all peripherals, Initializes the Flash interface and the Systick. */
  HAL_Init();

  /* Configure the system clock */
  SystemClock_Config();

  /* Configure the peripherals common clocks */
  PeriphCommonClock_Config();

  /* Initialize all configured peripherals */
  MX_GPIO_Init();
  MX_DMA_Init();
  MX_MDMA_Init();
  MX_ADC1_Init();
  MX_FDCAN1_Init();
  MX_FDCAN2_Init();
  MX_FDCAN3_Init();
  MX_USART1_UART_Init();
  MX_USART2_UART_Init();
  MX_USART3_UART_Init();
  MX_UART5_Init();
  MX_UART7_Init();
  MX_USART10_UART_Init();
  MX_SPI2_Init();
  MX_SPI6_Init();
  MX_IWDG1_Init();
  MX_TIM1_Init();
  MX_TIM2_Init();
  MX_TIM3_Init();
  MX_TIM5_Init();
  MX_TIM12_Init();
  MX_TIM7_Init();
  MX_TIM8_Init();
  MX_CORDIC_Init();
  MX_OCTOSPI2_Init();
  MX_TIM4_Init();
  /* USER CODE BEGIN 2 */

    Task_Init();

  /* USER CODE END 2 */

  /* Init scheduler */
  osKernelInitialize();  /* Call init function for freertos objects (in cmsis_os2.c) */
  MX_FREERTOS_Init();

  /* Start scheduler */
  osKernelStart();

  /* We should never get here as control is now taken by the scheduler */

  /* Infinite loop */
  /* USER CODE BEGIN WHILE */
  Error_Handler();
  while (1)
  {
    /* USER CODE END WHILE */

    }
}

void SystemClock_Config(void)
{
  RCC_OscInitTypeDef RCC_OscInitStruct = {0};
  RCC_ClkInitTypeDef RCC_ClkInitStruct = {0};

  /** Supply configuration update enable
  */
  HAL_PWREx_ConfigSupply(PWR_LDO_SUPPLY);

  /** Configure the main internal regulator output voltage
  */
  __HAL_PWR_VOLTAGESCALING_CONFIG(PWR_REGULATOR_VOLTAGE_SCALE0);

  while(!__HAL_PWR_GET_FLAG(PWR_FLAG_VOSRDY)) {}

  /** Initializes the RCC Oscillators according to the specified parameters
  * in the RCC_OscInitTypeDef structure.
  */
  RCC_OscInitStruct.OscillatorType = RCC_OSCILLATORTYPE_HSI48|RCC_OSCILLATORTYPE_LSI
                              |RCC_OSCILLATORTYPE_HSE;
  RCC_OscInitStruct.HSEState = RCC_HSE_ON;
  RCC_OscInitStruct.LSIState = RCC_LSI_ON;
  RCC_OscInitStruct.HSI48State = RCC_HSI48_ON;
  RCC_OscInitStruct.PLL.PLLState = RCC_PLL_ON;
  RCC_OscInitStruct.PLL.PLLSource = RCC_PLLSOURCE_HSE;
  RCC_OscInitStruct.PLL.PLLM = 2;
  RCC_OscInitStruct.PLL.PLLN = 40;
  RCC_OscInitStruct.PLL.PLLP = 1;
  RCC_OscInitStruct.PLL.PLLQ = 4;
  RCC_OscInitStruct.PLL.PLLR = 2;
  RCC_OscInitStruct.PLL.PLLRGE = RCC_PLL1VCIRANGE_3;
  RCC_OscInitStruct.PLL.PLLVCOSEL = RCC_PLL1VCOWIDE;
  RCC_OscInitStruct.PLL.PLLFRACN = 0;
  if (HAL_RCC_OscConfig(&RCC_OscInitStruct) != HAL_OK)
  {
    Error_Handler();
  }

  /** Initializes the CPU, AHB and APB buses clocks
  */
  RCC_ClkInitStruct.ClockType = RCC_CLOCKTYPE_HCLK|RCC_CLOCKTYPE_SYSCLK
                              |RCC_CLOCKTYPE_PCLK1|RCC_CLOCKTYPE_PCLK2
                              |RCC_CLOCKTYPE_D3PCLK1|RCC_CLOCKTYPE_D1PCLK1;
  RCC_ClkInitStruct.SYSCLKSource = RCC_SYSCLKSOURCE_PLLCLK;
  RCC_ClkInitStruct.SYSCLKDivider = RCC_SYSCLK_DIV1;
  RCC_ClkInitStruct.AHBCLKDivider = RCC_HCLK_DIV2;
  RCC_ClkInitStruct.APB3CLKDivider = RCC_APB3_DIV2;
  RCC_ClkInitStruct.APB1CLKDivider = RCC_APB1_DIV2;
  RCC_ClkInitStruct.APB2CLKDivider = RCC_APB2_DIV2;
  RCC_ClkInitStruct.APB4CLKDivider = RCC_APB4_DIV2;

  if (HAL_RCC_ClockConfig(&RCC_ClkInitStruct, FLASH_LATENCY_3) != HAL_OK)
  {
    Error_Handler();
  }
}

void PeriphCommonClock_Config(void)
{
  RCC_PeriphCLKInitTypeDef PeriphClkInitStruct = {0};

  /** Initializes the peripherals clock
  */
  PeriphClkInitStruct.PeriphClockSelection = RCC_PERIPHCLK_CKPER;
  PeriphClkInitStruct.CkperClockSelection = RCC_CLKPSOURCE_HSE;
  if (HAL_RCCEx_PeriphCLKConfig(&PeriphClkInitStruct) != HAL_OK)
  {
    Error_Handler();
  }
}

void HAL_TIM_PeriodElapsedCallback(TIM_HandleTypeDef *htim)
{
  if (htim->Instance == TIM6)
  {
    HAL_IncTick();
  }
  /* USER CODE BEGIN Callback 1 */
  if (htim->Instance == TIM5)
  {
    Task_Timestamp_Overflow();
  }
  /* USER CODE END Callback 1 */
}

void Error_Handler(void)
{
    __disable_irq();
    while (1)
    {
    }
}

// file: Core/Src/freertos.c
/* USER CODE BEGIN Header */
/**
  ******************************************************************************
  * File Name          : freertos.c
  * Description        : Code for freertos applications
  ******************************************************************************
  * @attention
  *
  * Copyright (c) 2026 STMicroelectronics.
  * All rights reserved.
  *
  * This software is licensed under terms that can be found in the LICENSE file
  * in the root directory of this software component.
  * If no LICENSE file comes with this software, it is provided AS-IS.
  *
  ******************************************************************************
  */
/* USER CODE END Header */

#include "FreeRTOS.h"
#include "task.h"
#include "main.h"
#include "cmsis_os.h"

/* USER CODE BEGIN Includes */
#include "4_Task/tsk_config_and_callback.h"
/* USER CODE END Includes */

/* USER CODE BEGIN Variables */
static osThreadId_t imuTaskHandle;
static const osThreadAttr_t imuTask_attributes = {
  .name = "imuTask",
  .stack_size = 4096,
  .priority = (osPriority_t) osPriorityAboveNormal,
};
/* USER CODE END Variables */
/* Definitions for statusTask */
osThreadId_t statusTaskHandle;
const osThreadAttr_t statusTask_attributes = {
  .name = "statusTask",
  .stack_size = 512 * 4,
  .priority = (osPriority_t) osPriorityNormal,
};
/* Definitions for controlTask */
osThreadId_t controlTaskHandle;
const osThreadAttr_t controlTask_attributes = {
  .name = "controlTask",
  .stack_size = 512 * 4,
  .priority = (osPriority_t) osPriorityHigh,
};

/* USER CODE BEGIN FunctionPrototypes */
static void StartImuTask(void *argument);
/* USER CODE END FunctionPrototypes */

void StartStatusTask(void *argument);
void StartControlTask(void *argument);

extern void MX_USB_DEVICE_Init(void);
void MX_FREERTOS_Init(void); /* (MISRA C 2004 rule 8.1) */

/* Hook prototypes */
void vApplicationStackOverflowHook(xTaskHandle xTask, signed char *pcTaskName);

/* USER CODE BEGIN 4 */
void vApplicationStackOverflowHook(xTaskHandle xTask, signed char *pcTaskName)
{
  (void)xTask;
  (void)pcTaskName;
  Error_Handler();
}
/* USER CODE END 4 */

void MX_FREERTOS_Init(void) {

  /* Create the thread(s) */
  /* creation of statusTask */
  statusTaskHandle = osThreadNew(StartStatusTask, NULL, &statusTask_attributes);

  /* creation of controlTask */
  controlTaskHandle = osThreadNew(StartControlTask, NULL, &controlTask_attributes);

  /* USER CODE BEGIN RTOS_THREADS */
  imuTaskHandle = osThreadNew(StartImuTask, NULL, &imuTask_attributes);
  if (controlTaskHandle == NULL || statusTaskHandle == NULL || imuTaskHandle == NULL)
  {
    Error_Handler();
  }
  /* USER CODE END RTOS_THREADS */

}

void StartStatusTask(void *argument)
{
  /* init code for USB_DEVICE */
  MX_USB_DEVICE_Init();
  /* USER CODE BEGIN StartStatusTask */
  (void)argument;
  Task_Status_Run();
  /* USER CODE END StartStatusTask */
}

void StartControlTask(void *argument)
{
  /* USER CODE BEGIN StartControlTask */
  (void)argument;
  Task_Control_Run();
  /* USER CODE END StartControlTask */
}

/* USER CODE BEGIN Application */
static void StartImuTask(void *argument)
{
  (void)argument;
  Task_Imu_Run();
}
/* USER CODE END Application */
